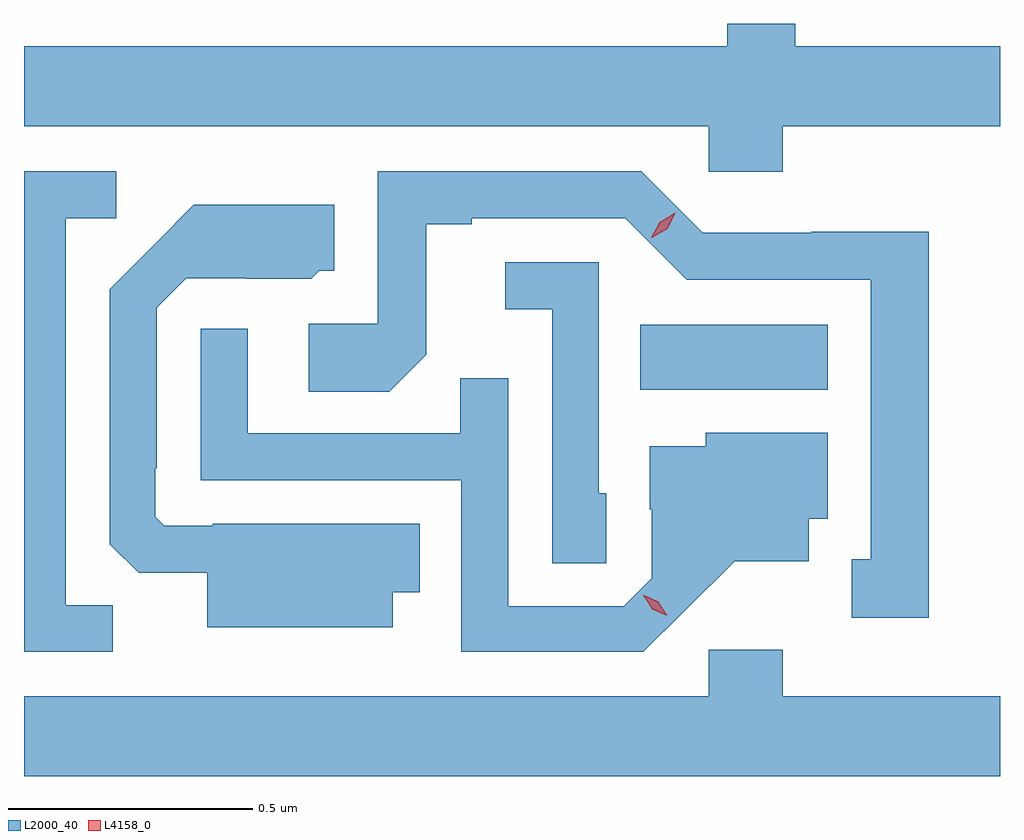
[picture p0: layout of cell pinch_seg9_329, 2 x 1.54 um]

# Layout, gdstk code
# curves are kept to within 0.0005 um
import gdstk
lib = gdstk.Library(unit=1e-6, precision=1e-09)
def R(c, l, rs):  # rectangles x0, y0, x1, y1
    for r in rs: c.add(gdstk.rectangle(r[:2], r[2:], *l))
def P(c, l, *ps):  # polygons
    for p in ps: c.add(gdstk.Polygon(p, *l))
L2000_40 = (2000, 40)
L4158_0 = (4158, 0)

pinch_seg9_329 = lib.new_cell('pinch_seg9_329')
R(pinch_seg9_329, L2000_40, [(642.64,1178.564,643.024,1178.698)])
P(pinch_seg9_329, L2000_40, [(642.932,1179.104),(643.377,1179.104),(643.377,1179.268),(642.957,1179.268),(642.957,1179.315),(642.818,1179.315),(642.818,1179.268),(641.377,1179.268),(641.377,1179.104),(642.78,1179.104),(642.78,1179.011),(642.932,1179.011)],
  [(643.231,1178.888),(642.99,1178.888),(642.99,1178.886),(642.768,1178.886),(642.642,1179.012),(642.102,1179.012),(642.102,1178.7),(641.961,1178.7),(641.961,1178.56),(642.125,1178.56),(642.201,1178.636),(642.201,1178.904),(642.295,1178.904),(642.295,1178.916),(642.609,1178.916),(642.735,1178.79),(643.112,1178.79),(643.112,1178.217),(643.073,1178.217),(643.073,1178.097),(643.231,1178.097)],
  [(641.559,1178.123),(641.463,1178.123),(641.463,1178.916),(641.566,1178.916),(641.566,1179.012),(641.377,1179.012),(641.377,1178.028),(641.559,1178.028)],
  [(642.133,1178.15),(642.188,1178.15),(642.188,1178.29),(641.764,1178.29),(641.764,1178.286),(641.664,1178.286),(641.646,1178.304),(641.646,1178.404),(641.649,1178.404),(641.649,1178.733),(641.709,1178.793),(641.832,1178.793),(641.832,1178.792),(641.966,1178.792),(641.982,1178.808),(642.013,1178.808),(642.013,1178.944),(641.725,1178.944),(641.553,1178.77),(641.553,1178.248),(641.612,1178.189),(641.753,1178.189),(641.753,1178.078),(642.133,1178.078)],
  [(642.57,1178.352),(642.555,1178.352),(642.555,1178.826),(642.363,1178.826),(642.363,1178.729),(642.459,1178.729),(642.459,1178.209),(642.57,1178.209)],
  [(642.73,1178.111),(642.833,1178.213),(642.985,1178.213),(642.985,1178.3),(643.024,1178.3),(643.024,1178.476),(642.774,1178.476),(642.774,1178.449),(642.659,1178.449),(642.659,1178.32),(642.663,1178.32),(642.663,1178.178),(642.606,1178.121),(642.369,1178.121),(642.369,1178.588),(642.271,1178.588),(642.271,1178.475),(641.835,1178.475),(641.835,1178.689),(641.739,1178.689),(641.739,1178.379),(642.273,1178.379),(642.273,1178.028),(642.646,1178.028)],
  [(643.377,1177.936),(642.932,1177.936),(642.932,1178.032),(642.78,1178.032),(642.78,1177.936),(641.377,1177.936),(641.377,1177.772),(643.377,1177.772)])
P(pinch_seg9_329, L4158_0, [(642.662,1178.876),(642.662,1178.876),(642.68,1178.908),(642.712,1178.927),(642.712,1178.927),(642.712,1178.926),(642.695,1178.894),(642.663,1178.876)],
  [(642.695,1178.101),(642.664,1178.115),(642.646,1178.144),(642.646,1178.144),(642.646,1178.144),(642.677,1178.13),(642.695,1178.101),(642.695,1178.101)])

lib.write_gds('pinch_seg9_329.gds')
